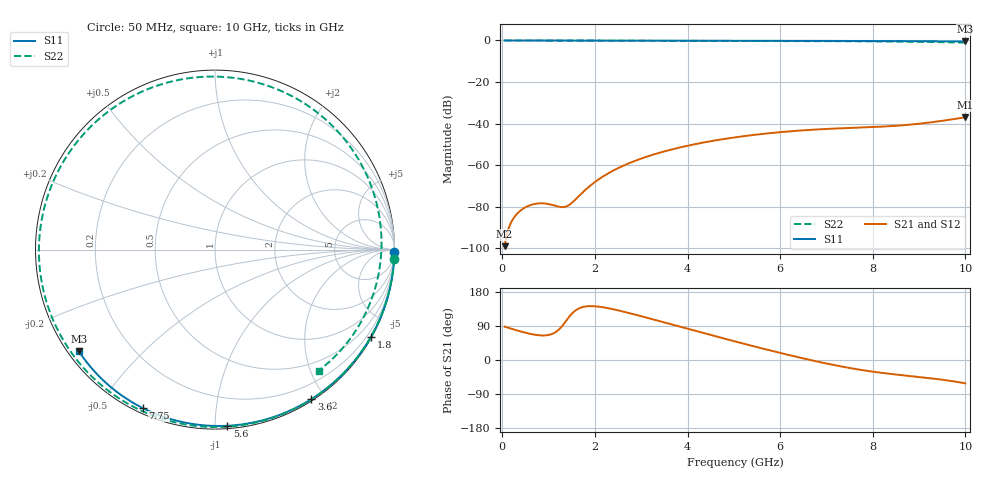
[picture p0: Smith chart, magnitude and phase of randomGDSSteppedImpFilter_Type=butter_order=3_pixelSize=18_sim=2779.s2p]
! freq	dB(S11)	phase(S11)	dB(S12)	phase(S12)
!  dB(S21)	phase(S21)	dB(S22)	phase(S22)
!S-par simulation data
#  GHz  S  DB  R 50
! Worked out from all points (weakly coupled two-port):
!   200 points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, 50 MHz to 10 GHz, reference 50 ohm
!   highest |S21| = -36.97 dB at 10 GHz (marker M1); lowest = -99.0 dB at 50 MHz (marker M2)
!   lowest |S11| = -0.5 dB at 10 GHz (marker M3), VSWR 36.43, Z = 1.52 - j16.6 ohm
!   |S11| at or under -10 dB: nowhere
!   |S22| runs from -1.0 to 0.0 dB; largest |S21 - S12| = 0
!   S11 on the Smith chart (normalised r, x): 50 MHz: open; 1.8 GHz: 0.03, -3.83; 3.6 GHz: 0.02, -1.84; 5.6 GHz: 0.02, -1.07; 7.75 GHz: 0.02, -0.64; 10 GHz: 0.03, -0.33
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0.05  -0.00 -0.8  -98.98 88.1  -98.98 88.1  -0.00 -3.1
0.45  -0.01 -7.4  -80.93 73.5  -80.93 73.5  -0.04 -27.8
0.9  -0.02 -14.8  -78.42 64.8  -78.42 64.8  -0.07 -54.1
1.4  -0.03 -22.9  -79.71 106.9  -79.71 106.9  -0.09 -80.7
1.75  -0.04 -28.5  -72.80 140.2  -72.80 140.2  -0.10 -97.5
1.8  -0.04 -29.3  -71.77 141.3  -71.77 141.3  -0.10 -99.7
2.45  -0.05 -39.6  -62.00 132.5  -62.00 132.5  -0.12 -127.0
2.9  -0.06 -46.5  -57.65 118.8  -57.65 118.8  -0.13 -143.7
3.4  -0.07 -54.2  -54.00 102.4  -54.00 102.4  -0.15 -160.8
3.6  -0.08 -57.2  -52.78 95.7  -52.78 95.7  -0.15 -167.3
4.3  -0.09 -67.5  -49.30 72.5  -49.30 72.5  -0.18 170.8
5.05  -0.12 -78.3  -46.55 48.2  -46.55 48.2  -0.21 148.0
5.6  -0.14 -85.9  -45.02 30.9  -45.02 30.9  -0.24 131.0
6.2  -0.17 -94.1  -43.74 12.8  -43.74 12.8  -0.27 111.7
6.7  -0.19 -100.8  -42.95 -1.3  -42.95 -1.3  -0.31 94.8
7.25  -0.23 -108.1  -42.32 -15.4  -42.32 -15.4  -0.36 74.9
7.75  -0.26 -114.5  -41.88 -26.2  -41.88 -26.2  -0.41 55.4
8.35  -0.31 -122.2  -41.27 -36.2  -41.27 -36.2  -0.50 30.1
8.8  -0.35 -128.0  -40.52 -42.2  -40.52 -42.2  -0.60 9.8
9.2  -0.39 -133.1  -39.56 -47.4  -39.56 -47.4  -0.72 -9.3
9.6  -0.43 -138.2  -38.34 -53.7  -38.34 -53.7  -0.86 -29.1
10  -0.48 -143.3  -36.97 -61.6  -36.97 -61.6  -1.03 -49.5
